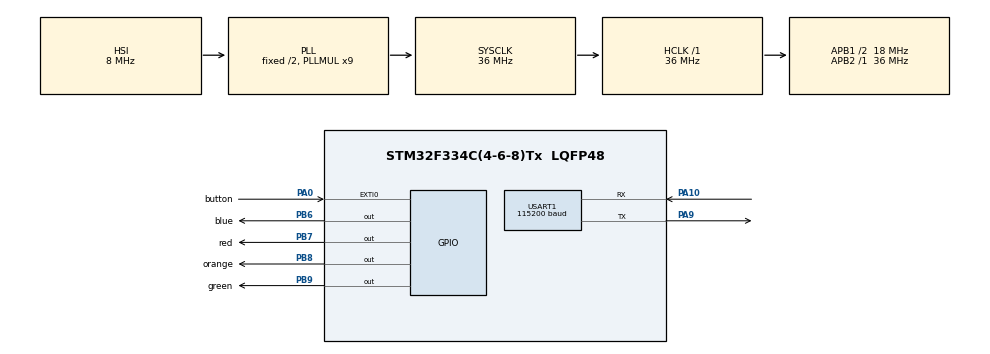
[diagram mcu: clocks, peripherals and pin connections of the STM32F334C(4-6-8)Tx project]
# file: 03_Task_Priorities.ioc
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FREERTOS.Tasks01=defaultTask,0,128,StartDefaultTask,Default,NULL,Dynamic,NULL,NULL
FREERTOS.configUSE_NEWLIB_REENTRANT=1
Mcu.Family=STM32F3
Mcu.Name=STM32F334C(4-6-8)Tx
Mcu.Package=LQFP48
NVIC.EXTI0_IRQn=true\:5\:0\:true\:false\:true\:true\:true\:true\:true
NVIC.PriorityGroup=NVIC_PRIORITYGROUP_4
NVIC.TIM6_DAC1_IRQn=true\:0\:0\:false\:false\:true\:false\:false\:true\:true
NVIC.TimeBase=TIM6_DAC1_IRQn
NVIC.TimeBaseIP=TIM6
PA0.GPIO_Label=button
PA0.Signal=GPXTI0
PA10.Mode=Asynchronous
PA10.Signal=USART1_RX
PA9.Mode=Asynchronous
PA9.Signal=USART1_TX
PB6.GPIO_Label=blue
PB6.Signal=GPIO_Output
PB7.GPIO_Label=red
PB7.Signal=GPIO_Output
PB8.GPIO_Label=orange
PB8.Signal=GPIO_Output
PB9.GPIO_Label=green
PB9.Signal=GPIO_Output
ProjectManager.HeapSize=0x200
ProjectManager.StackSize=0x400
ProjectManager.TargetToolchain=STM32CubeIDE
RCC.AHBFreq_Value=36000000
RCC.APB1CLKDivider=RCC_HCLK_DIV2
RCC.APB1Freq_Value=18000000
RCC.APB1TimFreq_Value=36000000
RCC.APB2Freq_Value=36000000
RCC.APB2TimFreq_Value=36000000
RCC.CortexFreq_Value=36000000
RCC.HCLKFreq_Value=36000000
RCC.HSE_VALUE=8000000
RCC.HSI_VALUE=8000000
RCC.LSE_VALUE=32768
RCC.PLLMUL=RCC_PLL_MUL9
RCC.SYSCLKFreq_VALUE=36000000
RCC.SYSCLKSourceVirtual=RCC_SYSCLKSOURCE_PLLCLK
USART1.BaudRate=115200
USART1.VirtualMode-Asynchronous=VM_ASYNC
VP_FREERTOS_VS_CMSIS_V1.Mode=CMSIS_V1
VP_SYS_VS_tim6.Mode=TIM6
board=STM32F3348-DISCO

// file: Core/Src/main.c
/* USER CODE BEGIN Header */
/**
  ******************************************************************************
  * @file           : main.c
  * @brief          : Main program body
  ******************************************************************************
  * @attention
  *
  * Copyright (c) 2023 STMicroelectronics.
  * All rights reserved.
  *
  * This software is licensed under terms that can be found in the LICENSE file
  * in the root directory of this software component.
  * If no LICENSE file comes with this software, it is provided AS-IS.
  *
  ******************************************************************************
  */
/* USER CODE END Header */
#include "main.h"

/* USER CODE BEGIN Includes */

#include "FreeRTOS.h"
#include "task.h"
#include "timers.h"
#include "queue.h"
#include "semphr.h"
#include "event_groups.h"
#include <string.h>
#include <stdlib.h>
#include <stdio.h>
/* USER CODE END Includes */

UART_HandleTypeDef huart1;

/* USER CODE BEGIN PV */
uint8_t button_sleep = 0;
/* USER CODE END PV */

void SystemClock_Config(void);
static void MX_GPIO_Init(void);
static void MX_USART1_UART_Init(void);

/* USER CODE BEGIN PFP */
void Task_Master(void *param);
void Task1_Handler(void *param);
void Task2_Handler(void *param);
void Task3_Handler(void *param);
void Task4_Handler(void *param);
void Task5_Handler(void *param);
void Task6_Handler(void *param);
void RTOS_Delay(uint32_t delay);
/* USER CODE END PFP */

int main(void)
{

  /* MCU Configuration--------------------------------------------------------*/

  /* Reset of all peripherals, Initializes the Flash interface and the Systick. */
  HAL_Init();

  /* Configure the system clock */
  SystemClock_Config();

  /* Initialize all configured peripherals */
  MX_GPIO_Init();
  MX_USART1_UART_Init();

  /* Create the thread(s) */
  /* definition and creation of defaultTask */

  /* USER CODE BEGIN RTOS_THREADS */
  xTaskCreate(Task1_Handler, "Task-1", 60, NULL, 4, NULL);
  xTaskCreate(Task2_Handler, "Task-2", 60, NULL, 4, NULL);
  xTaskCreate(Task3_Handler, "Task-3", 60, NULL, 4, NULL);
  xTaskCreate(Task4_Handler, "Task-4", 60, NULL, 4, NULL);
  xTaskCreate(Task5_Handler, "Task-5", 60, NULL, 4, NULL);
  xTaskCreate(Task6_Handler, "Task-6", 60, NULL, 4, NULL);
  vTaskStartScheduler();
  /* USER CODE END RTOS_THREADS */

  /* Start scheduler */

  /* We should never get here as control is now taken by the scheduler */
  /* Infinite loop */
  while (1)
  {

  }
}

void SystemClock_Config(void)
{
  RCC_OscInitTypeDef RCC_OscInitStruct = {0};
  RCC_ClkInitTypeDef RCC_ClkInitStruct = {0};
  RCC_PeriphCLKInitTypeDef PeriphClkInit = {0};

  /** Initializes the RCC Oscillators according to the specified parameters
  * in the RCC_OscInitTypeDef structure.
  */
  RCC_OscInitStruct.OscillatorType = RCC_OSCILLATORTYPE_HSI;
  RCC_OscInitStruct.HSIState = RCC_HSI_ON;
  RCC_OscInitStruct.HSICalibrationValue = RCC_HSICALIBRATION_DEFAULT;
  RCC_OscInitStruct.PLL.PLLState = RCC_PLL_ON;
  RCC_OscInitStruct.PLL.PLLSource = RCC_PLLSOURCE_HSI;
  RCC_OscInitStruct.PLL.PLLMUL = RCC_PLL_MUL9;
  if (HAL_RCC_OscConfig(&RCC_OscInitStruct) != HAL_OK)
  {
    Error_Handler();
  }

  /** Initializes the CPU, AHB and APB buses clocks
  */
  RCC_ClkInitStruct.ClockType = RCC_CLOCKTYPE_HCLK|RCC_CLOCKTYPE_SYSCLK
                              |RCC_CLOCKTYPE_PCLK1|RCC_CLOCKTYPE_PCLK2;
  RCC_ClkInitStruct.SYSCLKSource = RCC_SYSCLKSOURCE_PLLCLK;
  RCC_ClkInitStruct.AHBCLKDivider = RCC_SYSCLK_DIV1;
  RCC_ClkInitStruct.APB1CLKDivider = RCC_HCLK_DIV2;
  RCC_ClkInitStruct.APB2CLKDivider = RCC_HCLK_DIV1;

  if (HAL_RCC_ClockConfig(&RCC_ClkInitStruct, FLASH_LATENCY_1) != HAL_OK)
  {
    Error_Handler();
  }
  PeriphClkInit.PeriphClockSelection = RCC_PERIPHCLK_USART1;
  PeriphClkInit.Usart1ClockSelection = RCC_USART1CLKSOURCE_PCLK1;
  if (HAL_RCCEx_PeriphCLKConfig(&PeriphClkInit) != HAL_OK)
  {
    Error_Handler();
  }
}

static void MX_USART1_UART_Init(void)
{

  huart1.Instance = USART1;
  huart1.Init.BaudRate = 115200;
  huart1.Init.WordLength = UART_WORDLENGTH_8B;
  huart1.Init.StopBits = UART_STOPBITS_1;
  huart1.Init.Parity = UART_PARITY_NONE;
  huart1.Init.Mode = UART_MODE_TX_RX;
  huart1.Init.HwFlowCtl = UART_HWCONTROL_NONE;
  huart1.Init.OverSampling = UART_OVERSAMPLING_16;
  huart1.Init.OneBitSampling = UART_ONE_BIT_SAMPLE_DISABLE;
  huart1.AdvancedInit.AdvFeatureInit = UART_ADVFEATURE_NO_INIT;
  if (HAL_UART_Init(&huart1) != HAL_OK)
  {
    Error_Handler();
  }

}

static void MX_GPIO_Init(void)
{
  GPIO_InitTypeDef GPIO_InitStruct = {0};

  /* GPIO Ports Clock Enable */
  __HAL_RCC_GPIOA_CLK_ENABLE();
  __HAL_RCC_GPIOB_CLK_ENABLE();

  /*Configure GPIO pin Output Level */
  HAL_GPIO_WritePin(GPIOB, blue_Pin|red_Pin|orange_Pin|green_Pin, GPIO_PIN_RESET);

  /*Configure GPIO pin : button_Pin */
  GPIO_InitStruct.Pin = button_Pin;
  GPIO_InitStruct.Mode = GPIO_MODE_IT_RISING;
  GPIO_InitStruct.Pull = GPIO_NOPULL;
  HAL_GPIO_Init(button_GPIO_Port, &GPIO_InitStruct);

  /*Configure GPIO pins : blue_Pin red_Pin orange_Pin green_Pin */
  GPIO_InitStruct.Pin = blue_Pin|red_Pin|orange_Pin|green_Pin;
  GPIO_InitStruct.Mode = GPIO_MODE_OUTPUT_PP;
  GPIO_InitStruct.Pull = GPIO_NOPULL;
  GPIO_InitStruct.Speed = GPIO_SPEED_FREQ_LOW;
  HAL_GPIO_Init(GPIOB, &GPIO_InitStruct);

  /* EXTI interrupt init*/
  HAL_NVIC_SetPriority(EXTI0_IRQn, 5, 0);
  HAL_NVIC_EnableIRQ(EXTI0_IRQn);

}

/* USER CODE BEGIN 4 */
void RTOS_Delay(uint32_t delay_in_ms)
{
	uint32_t tick_count_local = 0;
	//converting ms to ticks
	uint32_t delay_in_ticks = (delay_in_ms * configTICK_RATE_HZ) / 1000;
	tick_count_local = xTaskGetTickCount();
	while (xTaskGetTickCount() < (tick_count_local + delay_in_ticks)) {
	}
}
void Task_Master(void *param)
{
	char *str="Master: running\r\n";
    while(1)
    {
        HAL_UART_Transmit(&huart1, (uint8_t*)str, strlen(str), HAL_MAX_DELAY);
        if(button_sleep)
        {
            button_sleep = 0;
            vTaskDelay(10000);
        }

    }
}
void Task1_Handler(void *param)
{
	char *str="Task1: running\r\n";
    while(1)
    {
        HAL_UART_Transmit(&huart1, (uint8_t*)str, strlen(str), HAL_MAX_DELAY);
        HAL_GPIO_TogglePin(green_GPIO_Port, green_Pin);
        vTaskDelay(1);
    }
}

void Task2_Handler(void *param)
{
	char *str="Task2: running\r\n";
    while(1)
    {
    	HAL_UART_Transmit(&huart1, (uint8_t*)str, strlen(str), HAL_MAX_DELAY);
    	HAL_GPIO_TogglePin(orange_GPIO_Port, orange_Pin);
        vTaskDelay(1);
    }
}
void Task3_Handler(void *param)
{
	char *str="Task3: running\r\n";
    while(1)
    {
    	HAL_UART_Transmit(&huart1, (uint8_t*)str, strlen(str), HAL_MAX_DELAY);
    	HAL_GPIO_TogglePin(red_GPIO_Port, red_Pin);
        vTaskDelay(1);
    }
}
void Task4_Handler(void *param)
{
	char *str="Task4: running\r\n";
    while(1)
    {
    	HAL_UART_Transmit(&huart1, (uint8_t*)str, strlen(str), HAL_MAX_DELAY);
    	HAL_GPIO_TogglePin(blue_GPIO_Port, blue_Pin);
        vTaskDelay(1);
    }
}
void Task5_Handler(void *param)
{
	char *str="Task5: running\r\n";
    while(1)
    {
    	HAL_UART_Transmit(&huart1, (uint8_t*)str, strlen(str), HAL_MAX_DELAY);
        vTaskDelay(1);
    }
}
void Task6_Handler(void *param)
{
	char *str="Task6: running\r\n";
    while(1)
    {
    	HAL_UART_Transmit(&huart1, (uint8_t*)str, strlen(str), HAL_MAX_DELAY);
        vTaskDelay(1);
    }
}
/* USER CODE BEGIN 4 */
void HAL_GPIO_EXTI_Callback(uint16_t GPIO_Pin)
{
  if(GPIO_Pin == button_Pin)
      button_sleep=1;

}
/* USER CODE END 4 */

void HAL_TIM_PeriodElapsedCallback(TIM_HandleTypeDef *htim)
{
  if (htim->Instance == TIM6) {
    HAL_IncTick();
  }
}

void Error_Handler(void)
{
  __disable_irq();
  while (1)
  {
  }
}
